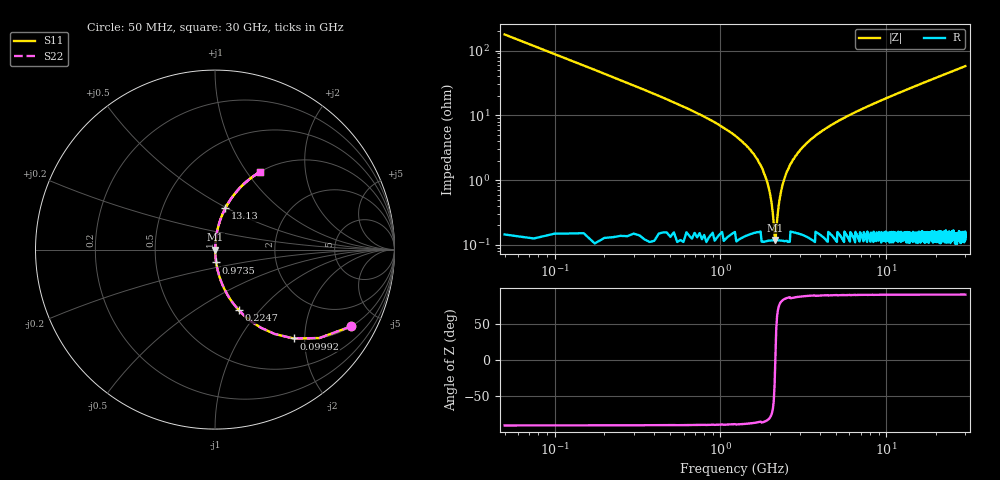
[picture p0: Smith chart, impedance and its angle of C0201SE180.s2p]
!	AVX Thin Film Operation 	Date: April 2014
!	Description: Accu-P® Series, Thin Film  SMD RF Capacitor
!	Part Number: 0201YK180FBSTR
# MHZ S MA R 50
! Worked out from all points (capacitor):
!   1201 points, 50 MHz to 30 GHz, reference 50 ohm
!   read as one part in series: C = 18 pF near 199.8 MHz
!   lowest |Z| = 119 mohm at 2.147 GHz (marker M1)
!   series resonance near 2.143 GHz, so ESL is about 310 pH
!   S11 on the Smith chart (normalised r, x): 50 MHz: 1.00, -3.53; 99.92 MHz: 1.00, -1.76; 224.7 MHz: 1.00, -0.78; 973.5 MHz: 1.00, -0.14; 13.13 GHz: 1.00, +0.49; 30 GHz: 1.00, +1.15
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50  0.87 -29.5  0.492 60.5  0.492 60.5  0.87 -29.5
99.917  0.661 -48.5  0.749 41.4  0.749 41.4  0.661 -48.5
224.708  0.362 -68.6  0.931 21.2  0.931 21.2  0.362 -68.6
424.375  0.196 -78.3  0.979 11.3  0.979 11.3  0.196 -78.3
973.458  0.072 -84.8  0.996 4.1  0.996 4.1  0.072 -84.8
1672.292  0.021 -85.1  0.998 1.2  0.998 1.2  0.021 -85.1
1871.958  0.011 -82.4  0.999 0.6  0.999 0.6  0.011 -82.4
2046.667  0.004021 -70.0  0.999 0.2  0.999 0.2  0.004021 -70.0
2146.5  0.001366 5.9  0.999 -0.0  0.999 -0.0  0.001366 5.9
2246.333  0.00412 70.5  0.999 -0.2  0.999 -0.2  0.00412 70.5
2371.125  0.008467 80.3  0.999 -0.5  0.999 -0.5  0.008467 80.3
2520.875  0.014 83.5  0.999 -0.8  0.999 -0.8  0.014 83.5
2970.125  0.027 85.6  0.998 -1.6  0.998 -1.6  0.027 85.6
3718.875  0.048 85.6  0.998 -2.7  0.998 -2.7  0.048 85.6
5041.667  0.079 84.5  0.996 -4.5  0.996 -4.5  0.079 84.5
7437.667  0.13 81.9  0.99 -7.5  0.99 -7.5  0.13 81.9
10058.29  0.182 79.1  0.982 -10.5  0.982 -10.5  0.182 79.1
13128.17  0.239 75.9  0.97 -13.8  0.97 -13.8  0.239 75.9
15025  0.272 73.9  0.961 -15.8  0.961 -15.8  0.272 73.9
20016.67  0.356 69.0  0.933 -20.8  0.933 -20.8  0.356 69.0
25033.29  0.431 64.3  0.901 -25.5  0.901 -25.5  0.431 64.3
30000  0.498 60.0  0.866 -29.9  0.866 -29.9  0.498 60.0
